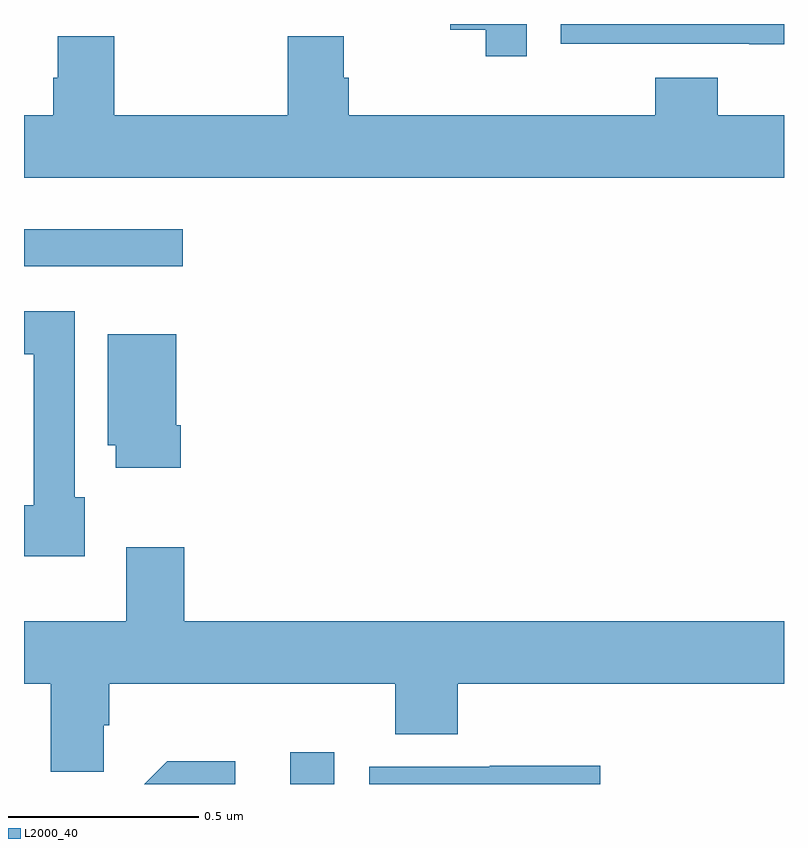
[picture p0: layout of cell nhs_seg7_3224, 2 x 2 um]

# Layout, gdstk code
import gdstk
lib = gdstk.Library(unit=1e-6, precision=1e-09)
def R(c, l, rs):  # rectangles x0, y0, x1, y1
    for r in rs: c.add(gdstk.rectangle(r[:2], r[2:], *l))
def P(c, l, *ps):  # polygons
    for p in ps: c.add(gdstk.Polygon(p, *l))
L2000_40 = (2000, 40)

nhs_seg7_3224 = lib.new_cell('nhs_seg7_3224')
R(nhs_seg7_3224, L2000_40, [(156.701,1019,156.816,1019.083), (156,1020.363,156.418,1020.46)])
P(nhs_seg7_3224, L2000_40, [(158,1021),(157.413,1021),(157.413,1020.948),(157.909,1020.948),(157.909,1020.947),(158,1020.947)],
  [(157.323,1021),(157.122,1021),(157.122,1020.985),(157.215,1020.985),(157.215,1020.915),(157.323,1020.915)],
  [(158,1020.76),(157.826,1020.76),(157.826,1020.859),(157.661,1020.859),(157.661,1020.76),(156.854,1020.76),(156.854,1020.858),(156.841,1020.858),(156.841,1020.968),(156.694,1020.968),(156.694,1020.76),(156.237,1020.76),(156.237,1020.968),(156.089,1020.968),(156.089,1020.858),(156.077,1020.858),(156.077,1020.76),(156,1020.76),(156,1020.596),(158,1020.596)],
  [(156.16,1019.754),(156.133,1019.754),(156.133,1020.244),(156,1020.244),(156,1020.131),(156.026,1020.131),(156.026,1019.734),(156,1019.734),(156,1019.6),(156.16,1019.6)],
  [(156.413,1019.944),(156.4,1019.944),(156.4,1020.184),(156.221,1020.184),(156.221,1019.892),(156.242,1019.892),(156.242,1019.832),(156.413,1019.832)],
  [(156.21,1019.155),(156.224,1019.155),(156.224,1019.264),(156.977,1019.264),(156.977,1019.131),(157.142,1019.131),(157.142,1019.264),(158,1019.264),(158,1019.428),(156.422,1019.428),(156.422,1019.623),(156.269,1019.623),(156.269,1019.428),(156,1019.428),(156,1019.264),(156.071,1019.264),(156.071,1019.032),(156.21,1019.032)],
  [(156.556,1019.06),(156.377,1019.06),(156.317,1019),(156.556,1019)],
  [(157.517,1019.048),(157.225,1019.048),(157.225,1019.046),(156.909,1019.046),(156.909,1019),(157.517,1019)])

lib.write_gds('nhs_seg7_3224.gds')
